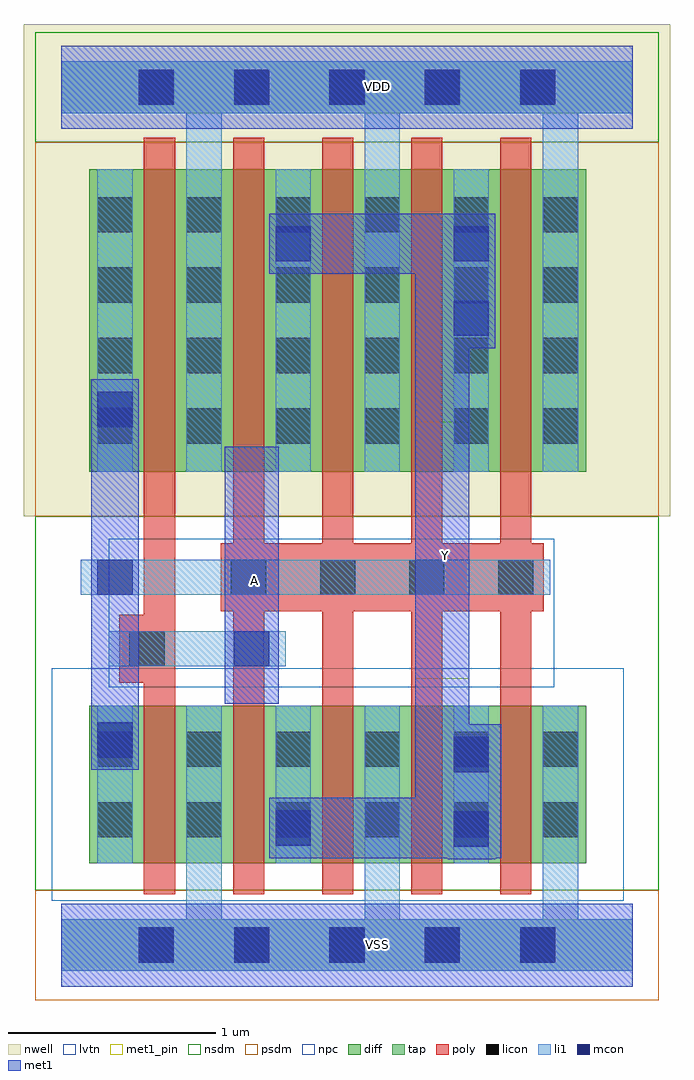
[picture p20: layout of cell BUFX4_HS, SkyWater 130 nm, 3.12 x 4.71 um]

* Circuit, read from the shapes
.subckt BUFX4_HS A VDD VSS Y
XM1 VSS A n1 VSS sky130_fd_pr__nfet_01v8_lvt w=0.76 l=0.15
XM2 Y n1 VSS VSS sky130_fd_pr__nfet_01v8_lvt w=0.76 l=0.15 m=4
XM3 VDD A n1 VDD sky130_fd_pr__pfet_01v8 w=1.46 l=0.15
XM4 Y n1 VDD VDD sky130_fd_pr__pfet_01v8 w=1.46 l=0.15 m=4
.ends

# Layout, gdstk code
import gdstk
lib = gdstk.Library(unit=1e-6, precision=1e-09)
def R(c, l, rs):  # rectangles x0, y0, x1, y1
    for r in rs: c.add(gdstk.rectangle(r[:2], r[2:], *l))
def A(c, l, x, y, w, h, nx, ny, dx, dy):  # array of equal rectangles
    R(c, l, [(x+i*dx, y+j*dy, x+i*dx+w, y+j*dy+h) for i in range(nx) for j in range(ny)])
nwell = (64, 20)
diff = (65, 20)
tap = (65, 44)
poly = (66, 20)
licon = (66, 44)
li1 = (67, 20)
mcon = (67, 44)
met1_pin = (68, 16)
met1 = (68, 20)
nsdm = (93, 44)
psdm = (94, 20)
npc = (95, 20)
lvtn = (125, 44)

l1m1_c_cdns_750721774076 = lib.new_cell('L1M1_C_CDNS_750721774076')
R(l1m1_c_cdns_750721774076, li1, [(-0.085,-0.345,0.085,0.345)])
R(l1m1_c_cdns_750721774076, mcon, [(-0.085,-0.265,0.085,-0.095), (-0.085,0.095,0.085,0.265)])
R(l1m1_c_cdns_750721774076, met1, [(-0.115,-0.325,0.115,0.325)])

pyl1con_c_cdns_750721774 = lib.new_cell('PYL1CON_C_CDNS_750721774073')
R(pyl1con_c_cdns_750721774, poly, [(-0.135,-0.165,0.135,0.165)])
R(pyl1con_c_cdns_750721774, licon, [(-0.085,-0.085,0.085,0.085)])
R(pyl1con_c_cdns_750721774, npc, [(-0.185,-0.185,0.185,0.185)])

l1m1_c_cdns_750721774072 = lib.new_cell('L1M1_C_CDNS_750721774072')
R(l1m1_c_cdns_750721774072, li1, [(-0.085,-0.165,0.085,0.165)])
R(l1m1_c_cdns_750721774072, mcon, [(-0.085,-0.085,0.085,0.085)])
R(l1m1_c_cdns_750721774072, met1, [(-0.115,-0.145,0.115,0.145)])

l1m1_c_cdns_750721774074 = lib.new_cell('L1M1_C_CDNS_750721774074')
R(l1m1_c_cdns_750721774074, li1, [(-0.165,-0.085,0.165,0.085)])
R(l1m1_c_cdns_750721774074, mcon, [(-0.085,-0.085,0.085,0.085)])
R(l1m1_c_cdns_750721774074, met1, [(-0.115,-0.145,0.115,0.145)])

bufx4_hs = lib.new_cell('BUFX4_HS')
R(bufx4_hs, nwell, [(-0.18,2.07,2.94,4.305), (-0.045,2.105,0.955,3.925), (0.595,2.105,2.715,3.925), (-0.18,3.875,2.94,4.445)])
A(bufx4_hs, diff, 0.4, 0.395, 0.15, 0.76, 5, 1, 0.43, 0)
A(bufx4_hs, diff, 0.98, 0.395, 0.28, 0.76, 3, 1, 0.43, 0)
A(bufx4_hs, diff, 0.4, 2.285, 0.15, 1.46, 5, 1, 0.43, 0)
A(bufx4_hs, diff, 0.98, 2.285, 0.28, 1.46, 3, 1, 0.43, 0)
R(bufx4_hs, diff, [(0.135,0.395,0.4,1.155), (0.55,0.395,0.775,1.155), (0.775,0.395,0.83,1.155), (2.27,0.395,2.535,1.155), (0.135,2.285,0.4,3.745), (0.55,2.285,0.775,3.745), (0.775,2.285,0.83,3.745), (2.27,2.285,2.535,3.745)])
A(bufx4_hs, poly, 0.4, 0.245, 0.15, 0.055, 5, 2, 0.43, 1.005)
A(bufx4_hs, poly, 0.4, 0.3, 0.15, 0.095, 5, 2, 0.43, 0.855)
A(bufx4_hs, poly, 0.4, 0.395, 0.15, 0.76, 5, 1, 0.43, 0)
A(bufx4_hs, poly, 0.83, 1.44, 0.15, 0.885, 3, 1, 0.43, 0)
A(bufx4_hs, poly, 0.4, 2.135, 0.15, 0.055, 5, 2, 0.43, 1.705)
A(bufx4_hs, poly, 0.4, 2.19, 0.15, 0.095, 5, 2, 0.43, 1.555)
A(bufx4_hs, poly, 0.4, 2.285, 0.15, 1.46, 5, 1, 0.43, 0)
R(bufx4_hs, poly, [(2.12,1.445,2.27,2.325), (0.4,1.5,0.55,2.325), (0.77,1.61,2.33,1.94)])
A(bufx4_hs, licon, 0.375, -0.085, 0.17, 0.17, 5, 2, 0.46, 4.14)
A(bufx4_hs, licon, 0.175, 0.52, 0.17, 0.17, 6, 2, 0.43, 0.34)
A(bufx4_hs, licon, 0.175, 2.42, 0.17, 0.17, 6, 4, 0.43, 0.34)
A(bufx4_hs, li1, 0.175, 0.395, 0.17, 0.76, 6, 1, 0.43, 0)
A(bufx4_hs, li1, 0.175, 2.285, 0.17, 1.46, 6, 1, 0.43, 0)
A(bufx4_hs, li1, 0.605, 3.55, 0.17, 0.67, 3, 1, 0.86, 0)
R(bufx4_hs, li1, [(0.605,-0.085,0.775,0.945), (1.465,-0.085,1.635,1.155), (2.325,-0.085,2.495,0.945)])
A(bufx4_hs, mcon, 0.375, -0.085, 0.17, 0.17, 5, 2, 0.46, 4.14)
R(bufx4_hs, met1_pin, [(0.79,1.165,1.05,2.405), (1.71,1.285,1.97,2.525)])
R(bufx4_hs, nsdm, [(-0.125,0.265,2.885,2.07), (-0.005,0.265,0.785,1.285), (0.765,0.265,2.675,1.285), (-0.125,3.875,2.885,4.405), (-0.125,3.93,2.885,4.35)])
R(bufx4_hs, psdm, [(-0.125,-0.265,2.885,0.265), (-0.125,-0.21,2.885,0.21), (-0.125,2.07,2.885,3.875), (-0.005,2.155,0.785,3.875), (0.765,2.155,2.675,3.875)])
R(bufx4_hs, npc, [(0.23,1.245,2.38,1.96)])
R(bufx4_hs, lvtn, [(-0.045,0.215,0.955,1.335), (0.595,0.215,2.715,1.335)])
bufx4_hs.add(gdstk.FlexPath([(2.675,0),(0,0)], 0.25, ends=(0.085, 0), simple_path=True, layer=67, datatype=20))  # li1
bufx4_hs.add(gdstk.FlexPath([(0.26,1.775),(2.36,1.775)], 0.17, ends="flush", simple_path=True, layer=67, datatype=20))  # li1
bufx4_hs.add(gdstk.FlexPath([(2.675,4.14),(0,4.14)], 0.25, ends=(0.085, 0), simple_path=True, layer=67, datatype=20))  # li1
bufx4_hs.add(gdstk.FlexPath([(0.855,1.43),(0.23,1.43)], 0.17, ends="flush", simple_path=True, layer=67, datatype=20))  # li1
bufx4_hs.add(gdstk.FlexPath([(2.195,1.52),(2.27,1.52)], 0.15, ends=(0.075, 0), simple_path=True, layer=66, datatype=20))  # poly
bufx4_hs.add(gdstk.FlexPath([(2.195,1.305),(2.195,1.52)], 0.15, ends=(0, 0.075), simple_path=True, layer=66, datatype=20))  # poly
bufx4_hs.add(gdstk.FlexPath([(1.765,1.305),(1.765,1.61)], 0.15, ends="flush", simple_path=True, layer=66, datatype=20))  # poly
bufx4_hs.add(gdstk.FlexPath([(1.335,1.75),(1.41,1.75)], 0.15, ends=(0.075, 0), simple_path=True, layer=66, datatype=20))  # poly
bufx4_hs.add(gdstk.FlexPath([(1.335,1.305),(1.335,1.75)], 0.15, ends=(0, 0.075), simple_path=True, layer=66, datatype=20))  # poly
bufx4_hs.add(gdstk.FlexPath([(0.905,1.305),(0.905,1.44)], 0.15, ends="flush", simple_path=True, layer=66, datatype=20))  # poly
bufx4_hs.add(gdstk.FlexPath([(0,4.14),(2.76,4.14)], 0.4, ends="flush", simple_path=True, layer=68, datatype=16))  # met1_pin
bufx4_hs.add(gdstk.FlexPath([(0,0),(2.76,0)], 0.4, ends="flush", simple_path=True, layer=68, datatype=16))  # met1_pin
bufx4_hs.add(gdstk.FlexPath([(1.98,0.565),(1.84,0.565)], 0.29, ends=(0.145, 0), simple_path=True, layer=68, datatype=20))  # met1
bufx4_hs.add(gdstk.FlexPath([(0,4.14),(2.76,4.14)], 0.4, ends="flush", simple_path=True, layer=68, datatype=20))  # met1
bufx4_hs.add(gdstk.FlexPath([(1.84,3.53),(1.84,0.61)], 0.26, ends="flush", simple_path=True, layer=68, datatype=20))  # met1
bufx4_hs.add(gdstk.FlexPath([(0.92,1.165),(0.92,2.405)], 0.26, ends="flush", simple_path=True, layer=68, datatype=20))  # met1
bufx4_hs.add(gdstk.FlexPath([(1.84,3.385),(1.12,3.385)], 0.29, ends="flush", simple_path=True, layer=68, datatype=20))  # met1
bufx4_hs.add(gdstk.FlexPath([(0,0),(2.76,0)], 0.4, ends="flush", simple_path=True, layer=68, datatype=20))  # met1
bufx4_hs.add(gdstk.FlexPath([(0.26,1.185),(0.26,2.73)], 0.23, ends=(0.115, 0), simple_path=True, layer=68, datatype=20))  # met1
bufx4_hs.add(gdstk.FlexPath([(1.84,0.565),(1.12,0.565)], 0.29, ends="flush", simple_path=True, layer=68, datatype=20))  # met1
bufx4_hs.add(gdstk.FlexPath([(1.98,0.74),(1.98,0.565)], 0.29, ends=(0.325, 0.145), simple_path=True, layer=68, datatype=20))  # met1
bufx4_hs.add(gdstk.FlexPath([(0,4.14),(2.76,4.14)], 0.25, ends="flush", simple_path=True, layer=65, datatype=44))  # tap
bufx4_hs.add(gdstk.FlexPath([(0,0),(2.76,0)], 0.25, ends="flush", simple_path=True, layer=65, datatype=44))  # tap
bufx4_hs.add(gdstk.Reference(l1m1_c_cdns_750721774076, (1.98,0.74)))
bufx4_hs.add(gdstk.Reference(l1m1_c_cdns_750721774076, (1.98,3.205)))
bufx4_hs.add(gdstk.Reference(pyl1con_c_cdns_750721774, (2.195,1.775), x_reflection=True))
bufx4_hs.add(gdstk.Reference(pyl1con_c_cdns_750721774, (1.765,1.775), x_reflection=True))
bufx4_hs.add(gdstk.Reference(pyl1con_c_cdns_750721774, (0.415,1.43), x_reflection=True))
bufx4_hs.add(gdstk.Reference(pyl1con_c_cdns_750721774, (0.905,1.775), x_reflection=True))
bufx4_hs.add(gdstk.Reference(pyl1con_c_cdns_750721774, (1.335,1.775), x_reflection=True))
bufx4_hs.add(gdstk.Reference(l1m1_c_cdns_750721774072, (1.12,3.385)))
bufx4_hs.add(gdstk.Reference(l1m1_c_cdns_750721774072, (1.12,0.565)))
bufx4_hs.add(gdstk.Reference(l1m1_c_cdns_750721774072, (0.26,2.585)))
bufx4_hs.add(gdstk.Reference(l1m1_c_cdns_750721774072, (0.26,0.99)))
bufx4_hs.add(gdstk.Reference(l1m1_c_cdns_750721774074, (0.26,1.775)))
bufx4_hs.add(gdstk.Reference(l1m1_c_cdns_750721774074, (0.92,1.43), x_reflection=True))
bufx4_hs.add(gdstk.Label('VDD', (1.525,4.145), layer=68, texttype=5))
bufx4_hs.add(gdstk.Label('A', (0.935,1.76), layer=68, texttype=5))
bufx4_hs.add(gdstk.Label('Y', (1.855,1.88), layer=68, texttype=5))
bufx4_hs.add(gdstk.Label('VSS', (1.525,0.005), layer=68, texttype=5))

lib.write_gds('BUFX4_HS.gds')
